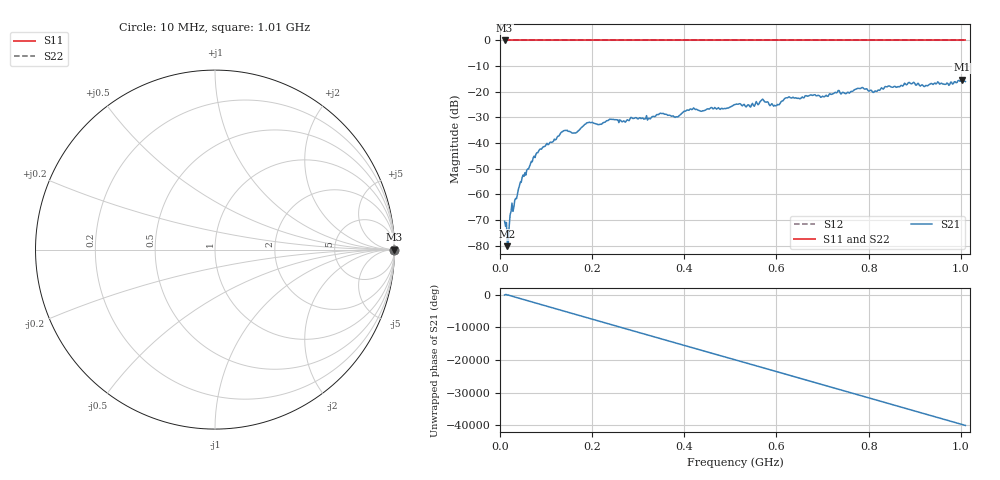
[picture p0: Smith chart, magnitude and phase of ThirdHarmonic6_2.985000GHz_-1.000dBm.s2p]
! 8/17/2025 8:29:32 AM
! C:\ANRITSUVNA\TEMP\TEMP.S2P
! CHANNEL.1
! TR.MEASUREMENT
! RAW.DATA
! RF.CORRECTION.OFF
! AVERAGING.OFF
! IF.BANDWIDTH: 5KHZ
! SWEEPTYPE:  FREQ.SWEEP(Linear)
! Reference Plane Port Info
! PORT:  PORT1  PORT2
! DISTANCE:  0  m  0  m
! TIME:  0  s  0  s
! PHASE.OFFSET:  0  deg.  0  deg.
! LOSS:  0  dB  0  dB
! REF.LOSS:  0  dB  0  dB
! REF.FREQ:  0  Hz  0  Hz
! Power Info
! POWER:  -20  dBm  -20  dBm
! EFF.POWER:  -20  dBm  -20  dBm
! SOURCE.ATTEN:  0  dB  0  dB
! TEST.ATTEN:  0  dB  0  dB
# GHZ S RI R 50.0
! FREQ.GHZ  S11RE  S11IM  S21RE  S21IM  S12RE  S12IM  S22RE  S22IM
!; PortSelection: Port_12
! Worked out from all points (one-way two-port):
!   501 points, 10 MHz to 1.01 GHz, reference 50 ohm
!   highest |S21| = -15.27 dB at 1.002 GHz (marker M1); lowest = -80.2 dB at 16 MHz (marker M2)
!   lowest |S11| = 0.0 dB at 10 MHz (marker M3)
!   |S11| at or under -10 dB: nowhere
!   |S22| runs from 0.0 to 0.0 dB; largest |S21 - S12| = 1.2
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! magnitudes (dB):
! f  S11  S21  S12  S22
! 10 MHz  0.0  -70.5  0.0  0.0
! 16 MHz  0.0  -80.2  0.0  0.0
! 20 MHz  0.0  -72.3  0.0  0.0
! 26 MHz  0.0  -63.4  0.0  0.0
! 46 MHz  0.0  -55.4  0.0  0.0
! 76 MHz  0.0  -45.7  0.0  0.0
! 136 MHz  0.0  -35.5  0.0  0.0
! 162 MHz  0.0  -36.1  0.0  0.0
! 178 MHz  0.0  -33.8  0.0  0.0
! 344 MHz  0.0  -28.9  0.0  0.0
! 382 MHz  0.0  -29.8  0.0  0.0
! 416 MHz  0.0  -27.0  0.0  0.0
! 510 MHz  0.0  -25.0  0.0  0.0
! 570 MHz  0.0  -22.9  0.0  0.0
! 598 MHz  0.0  -25.5  0.0  0.0
! 624 MHz  0.0  -22.4  0.0  0.0
! 678 MHz  0.0  -21.4  0.0  0.0
! 784 MHz  0.0  -18.6  0.0  0.0
! 814 MHz  0.0  -19.7  0.0  0.0
! 844 MHz  0.0  -17.7  0.0  0.0
! 1.002 GHz  0.0  -15.3  0.0  0.0
! 1.01 GHz  0.0  -16.0  0.0  0.0
